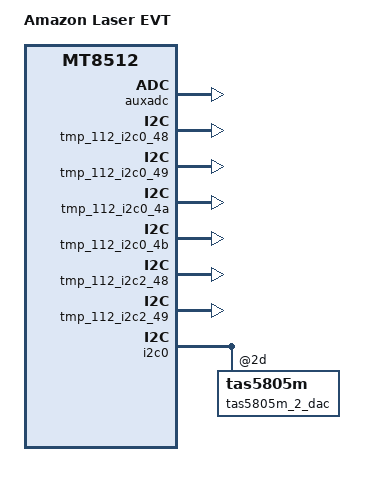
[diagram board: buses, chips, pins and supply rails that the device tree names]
/*
 * Copyright (c) 2020 Amazon.com
 *
 * SPDX-License-Identifier: (GPL-2.0)
 */

/dts-v1/;
#include "laser-mt8512.dtsi"

/ {
	model = "Amazon Laser EVT";
	compatible = "amzn,laser-evt", "mediatek,mt8512";

	chosen {
		bootargs = "vmalloc=496M";
	};
};

&auxadc {
	expected-divider-voltage-raw = <900>;
	ref-voltage-adc-channel = <1>;
	status = "okay";
};

&tsl25723_i2c2_39 {
	interrupt-parent = <&pio>;
	interrupts = <111 (IRQ_TYPE_LEVEL_LOW)>;
};

&tmp_112_i2c0_48 {
	status = "okay";
};

&tmp_112_i2c0_49 {
	status = "okay";
};

&tmp_112_i2c0_4a {
	status = "okay";
};

&tmp_112_i2c0_4b {
	status = "okay";
};

&tmp_112_i2c2_48 {
	status = "okay";
};

&tmp_112_i2c2_49 {
	status = "okay";
};

&i2c0 {
	tas5805m_2_dac: tas5805m@2d {
		swap-channels;
	};
};

&case_virtual_sensor {
	zone-list {
		therm0_s = <0 0 0 0 (-40000) 125000>;
		therm1_s = <0 0 0 0 (-40000) 125000>;
		therm2_s = <0 0 0 0 (-40000) 125000>;
		therm3_s = <1 22700 23 1300 (-40000) 125000>;
		wifi_temp = <0 0 0 0 0 0>;
		mtktscpu = <1 85900 11 (-367) 0 0>;
		tmp_112_i2c0_4a_s = <1 50200 1000 192 0 0>;
	};
};

&skin_virtual_sensor {
	zone-list {
		therm0_s = <1 18400 1000 1280 (-40000) 125000>;
		therm1_s = <0 0 0 0 (-40000) 125000>;
		therm2_s = <0 0 0 0 (-40000) 125000>;
		therm3_s = <1 67700 15 (-373) (-40000) 125000>;
		wifi_temp = <0 0 0 0 0 0>;
		mtktscpu = <1 66700 0 19 0 0>;
		tmp_112_i2c0_4a_s = <0 0 0 0 0 0>;
	};
};

&back_virtual_sensor {
	zone-list {
		therm0_s = <0 0 0 0 (-40000) 125000>;
		therm1_s = <0 0 0 0 (-40000) 125000>;
		therm2_s = <0 0 0 0 (-40000) 125000>;
		therm3_s = <1 21100 233 1330 (-40000) 125000>;
		wifi_temp = <0 0 0 0 0 0>;
		mtktscpu = <1 82900 22 (-261) 0 0>;
		tmp_112_i2c0_4a_s = <0 0 0 0 0 0>;
	};
};

&cpu_virtual_sensor {
	zone-list {
		therm0_s = <0 0 0 0 (-40000) 125000>;
		therm1_s = <0 0 0 0 (-40000) 125000>;
		therm2_s = <0 0 0 0 (-40000) 125000>;
		therm3_s = <0 0 0 0 (-40000) 125000>;
		wifi_temp = <0 0 0 0 0 0>;
		mtktscpu = <0 0 1000 1000 0 0>;
		tmp_112_i2c0_4a_s = <0 0 0 0 0 0>;
	};
};

&cpufilter_virtual_sensor {
	zone-list {
		therm0_s = <0 0 0 0 (-40000) 125000>;
		therm1_s = <0 0 0 0 (-40000) 125000>;
		therm2_s = <0 0 0 0 (-40000) 125000>;
		therm3_s = <0 0 0 0 (-40000) 125000>;
		wifi_temp = <0 0 0 0 0 0>;
		mtktscpu = <0 0 1000 1000 0 0>;
		tmp_112_i2c0_4a_s = <0 0 0 0 0 0>;
	};
};

/delete-node/ &case1_virtual;
/delete-node/ &case1_virtual_sensor;
/delete-node/ &back1_virtual;
/delete-node/ &back1_virtual_sensor;
